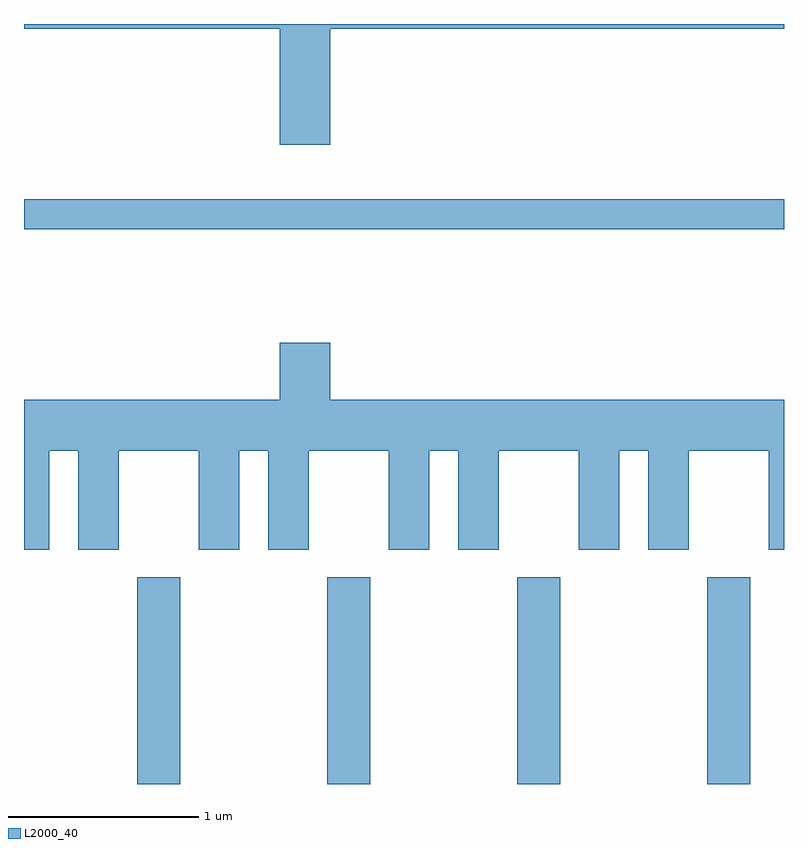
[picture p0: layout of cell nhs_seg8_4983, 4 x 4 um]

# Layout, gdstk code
import gdstk
lib = gdstk.Library(unit=1e-6, precision=1e-09)
def R(c, l, rs):  # rectangles x0, y0, x1, y1
    for r in rs: c.add(gdstk.rectangle(r[:2], r[2:], *l))
def A(c, l, x, y, w, h, nx, ny, dx, dy):  # array of equal rectangles
    R(c, l, [(x+i*dx, y+j*dy, x+i*dx+w, y+j*dy+h) for i in range(nx) for j in range(ny)])
def P(c, l, *ps):  # polygons
    for p in ps: c.add(gdstk.Polygon(p, *l))
L2000_40 = (2000, 40)

nhs_seg8_4983 = lib.new_cell('nhs_seg8_4983')
A(nhs_seg8_4983, L2000_40, 334.206, 1932.342, 0.228, 1.087, 4, 1, 1, 0)
R(nhs_seg8_4983, L2000_40, [(333.611,1935.261,337.611,1935.419)])
P(nhs_seg8_4983, L2000_40, [(335.224,1936.316),(337.611,1936.316),(337.611,1936.342),(333.611,1936.342),(333.611,1936.316),(334.956,1936.316),(334.956,1935.706),(335.224,1935.706)],
  [(333.744,1934.096),(333.896,1934.096),(333.896,1933.576),(334.109,1933.576),(334.109,1934.096),(334.531,1934.096),(334.531,1933.576),(334.744,1933.576),(334.744,1934.096),(334.896,1934.096),(334.896,1933.576),(335.109,1933.576),(335.109,1934.096),(335.531,1934.096),(335.531,1933.576),(335.744,1933.576),(335.744,1934.096),(335.896,1934.096),(335.896,1933.576),(336.109,1933.576),(336.109,1934.096),(336.531,1934.096),(336.531,1933.576),(336.744,1933.576),(336.744,1934.096),(336.896,1934.096),(336.896,1933.576),(337.109,1933.576),(337.109,1934.096),(337.531,1934.096),(337.531,1933.576),(337.611,1933.576),(337.611,1934.364),(335.224,1934.364),(335.224,1934.664),(334.956,1934.664),(334.956,1934.364),(333.611,1934.364),(333.611,1933.576),(333.744,1933.576)])

lib.write_gds('nhs_seg8_4983.gds')
